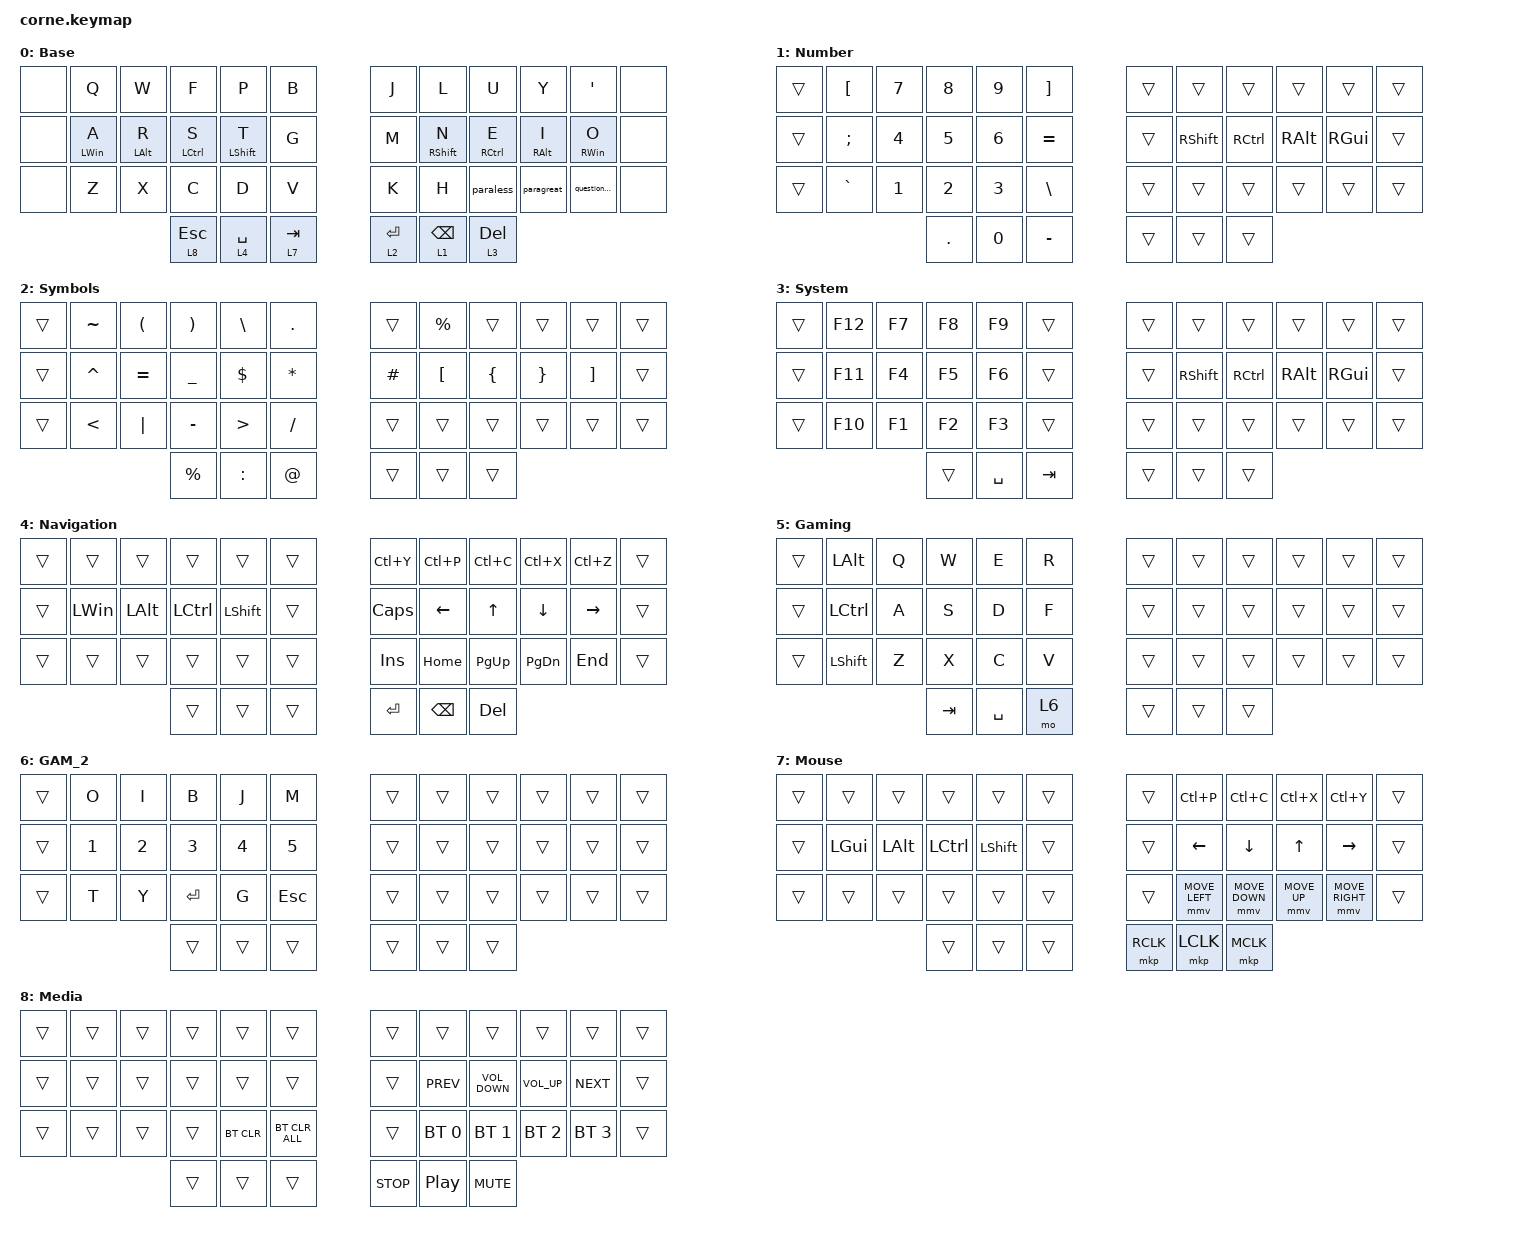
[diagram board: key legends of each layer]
#include <behaviors.dtsi>
#include <dt-bindings/zmk/bt.h>
#include <dt-bindings/zmk/keys.h>
#include <dt-bindings/zmk/pointing.h>

#define DEF 0
#define NAV 1
#define SYM 2
#define ADJ 3
#define EXTRA 4

/ {
    behaviors {
        hm: homerow_mods {
            compatible = "zmk,behavior-hold-tap";
            label = "HOMEROW_MODS";
            #binding-cells = <2>;
            tapping-term-ms = <200>;
            quick_tap_ms = <0>;
            flavor = "tap-preferred";
            bindings = <&kp>, <&kp>;

            quick-tap-ms = <180>;
            global-quick-tap;
        };

        para: para {
            compatible = "zmk,behavior-tap-dance";
            label = "PARA";
            #binding-cells = <0>;
            bindings = <&kp LEFT_PARENTHESIS>, <&kp RIGHT_PARENTHESIS>;
        };

        caps: caps {
            compatible = "zmk,behavior-caps-word";
            label = "CAPS";
            #binding-cells = <0>;
            continue-list = <MINUS BACKSPACE>;
        };

        paraless: paraless {
            compatible = "zmk,behavior-mod-morph";
            label = "PARALESS";
            bindings = <&kp COMMA>, <&kp LESS_THAN>;

            #binding-cells = <0>;
            mods = <(MOD_LSFT)>;
        };

        paragreat: paragreat {
            compatible = "zmk,behavior-mod-morph";
            label = "PARAGREAT";
            bindings = <&kp PERIOD>, <&kp GREATER_THAN>;

            #binding-cells = <0>;
            mods = <(MOD_LSFT)>;
        };

        quick_delete: quick_delete {
            compatible = "zmk,behavior-tap-dance";
            label = "QUICK_DELETE";
            #binding-cells = <0>;
            bindings = <&kp BACKSPACE>, <&kp LC(BACKSPACE)>;

            tapping-term-ms = <250>;
        };

        questionmark: questionmark {
            compatible = "zmk,behavior-mod-morph";
            label = "QUESTIONMARK";
            bindings = <&kp SLASH>, <&kp QUESTION>;

            #binding-cells = <0>;
            mods = <(MOD_LSFT)>;
        };
    };

    macros {
        browsertab: browsertab {
            compatible = "zmk,behavior-macro";
            #binding-cells = <0>;
            bindings =
                <&macro_press>,
                <&kp LCTRL>,
                <&macro_tap>,
                <&kp TAB>,
                <&macro_release>,
                <&kp LCTRL>;
        };
    };

    combos {
        compatible = "zmk,combos";

        Semicolon {
            bindings = <&kp SEMICOLON>;
            key-positions = <32 33>;
        };

        BaseToGam {
            bindings = <&to 5>;
            key-positions = <38 39>;
            layers = <0>;
        };

        GamToBase {
            bindings = <&to 0>;
            key-positions = <38 39>;
            layers = <5>;
        };

        layer_2 {
            bindings = <&mo 6>;
            key-positions = <37 13>;
            layers = <5>;
        };
    };

    //

    keymap {
        compatible = "zmk,keymap";

        DEF {
            display-name = "Base";

            // -----------------------------------------------------------------------------------------
            // |  Q  |  W  |  E  |  R  |  T  |   |  Y  |  U   |  I  |  O  |  P  |
            // |  A  |  S  |  D  |  F  |  G  |   |  H  |  J   |  K  |  L  |  ;  |
            // |  Z  |  X  |  C  |  V  |  B  |   |  N  |  M   |  ,  |  .  |  /  |
            // | GUI | CTRL | SHFT | LWR | SPC |   | ENT | RSE  | BKSP | ALT | ESC |

            bindings = <
&none  &kp Q       &kp W       &kp F         &kp P             &kp B        &kp J        &kp L            &kp U         &kp Y            &kp SQT          &none
&none  &hm LWIN A  &hm LALT R  &hm LCTRL S   &hm LEFT_SHIFT T  &kp G        &kp M        &hm RSHIFT N     &hm RCTRL E   &hm RIGHT_ALT I  &hm RIGHT_WIN O  &none
&none  &kp Z       &kp X       &kp C         &kp D             &kp V        &kp K        &kp H            &paraless     &paragreat       &questionmark    &none
                               &lt 8 ESCAPE  &lt 4 SPACE       &lt 7 TAB    &lt 2 ENTER  &lt 1 BACKSPACE  &lt 3 DELETE
            >;
        };

        NUM {
            display-name = "Number";

            // -----------------------------------------------------------------------------------------
            // |  TAB |  1  |  2  |  3  |  4  |  5  |   |  6  |  7  |  8  |  9  |  0  | BKSP |
            // | BTCLR| BT1 | BT2 | BT3 | BT4 | BT5 |   | LFT | DWN |  UP | RGT |     |      |
            // | SHFT |     |     |     |     |     |   |     |     |     |     |     |      |
            // | GUI | CTRL | SHFT | LWR | SPC |   | ENT | RSE  | BKSP | ALT | ESC |

            bindings = <
&trans  &kp LEFT_BRACKET  &kp NUMBER_7  &kp NUMBER_8  &kp N9        &kp RIGHT_BRACKET    &trans  &trans           &trans             &trans         &trans         &trans
&trans  &kp SEMICOLON     &kp NUMBER_4  &kp N5        &kp NUMBER_6  &kp EQUAL            &trans  &kp RIGHT_SHIFT  &kp RIGHT_CONTROL  &kp RIGHT_ALT  &kp RIGHT_GUI  &trans
&trans  &kp GRAVE         &kp NUMBER_1  &kp NUMBER_2  &kp NUMBER_3  &kp BACKSLASH        &trans  &trans           &trans             &trans         &trans         &trans
                                        &kp PERIOD    &kp N0        &kp MINUS            &trans  &trans           &trans
            >;
        };

        SYM {
            display-name = "Symbols";

            // -----------------------------------------------------------------------------------------
            // |  TAB |  !  |  @  |  #  |  $  |  %  |   |  ^  |  &  |  *  |  (  |  )  | BKSP |
            // | CTRL |     |     |     |     |     |   |  -  |  =  |  [  |  ]  |  \  |  `   |
            // | SHFT |     |     |     |     |     |   |  _  |  +  |  {  |  }  | "|" |  ~   |
            //                    | GUI |     | SPC |   | ENT |     | ALT |

            bindings = <
&trans  &kp TILDE      &kp LEFT_PARENTHESIS  &kp RIGHT_PARENTHESIS  &kp BACKSLASH     &kp PERIOD      &trans    &kp PERCENT       &trans          &trans           &trans             &trans
&trans  &kp CARET      &kp EQUAL             &kp UNDER              &kp DOLLAR        &kp ASTERISK    &kp HASH  &kp LEFT_BRACKET  &kp LEFT_BRACE  &kp RIGHT_BRACE  &kp RIGHT_BRACKET  &trans
&trans  &kp LESS_THAN  &kp PIPE              &kp MINUS              &kp GREATER_THAN  &kp SLASH       &trans    &trans            &trans          &trans           &trans             &trans
                                             &kp PERCENT            &kp COLON         &kp AT_SIGN     &trans    &trans            &trans
            >;
        };

        ADJ {
            display-name = "System";
            bindings = <
&trans  &kp F12  &kp F7  &kp F8  &kp F9     &trans     &trans  &trans           &trans             &trans         &trans         &trans
&trans  &kp F11  &kp F4  &kp F5  &kp F6     &trans     &trans  &kp RIGHT_SHIFT  &kp RIGHT_CONTROL  &kp RIGHT_ALT  &kp RIGHT_GUI  &trans
&trans  &kp F10  &kp F1  &kp F2  &kp F3     &trans     &trans  &trans           &trans             &trans         &trans         &trans
                         &trans  &kp SPACE  &kp TAB    &trans  &trans           &trans
            >;
        };

        NAV {
            display-name = "Navigation";
            bindings = <
&trans  &trans        &trans        &trans            &trans          &trans    &kp LC(Y)     &kp LC(P)      &kp LC(C)     &kp LC(X)      &kp LC(Z)        &trans
&trans  &kp LEFT_WIN  &kp LEFT_ALT  &kp LEFT_CONTROL  &kp LEFT_SHIFT  &trans    &kp CAPSLOCK  &kp LEFT       &kp UP_ARROW  &kp DOWN       &kp RIGHT_ARROW  &trans
&trans  &trans        &trans        &trans            &trans          &trans    &kp INSERT    &kp HOME       &kp PAGE_UP   &kp PAGE_DOWN  &kp END          &trans
                                    &trans            &trans          &trans    &kp ENTER     &kp BACKSPACE  &kp DELETE
            >;
        };

        GAM {
            bindings = <
&trans  &kp LEFT_ALT      &kp Q  &kp W    &kp E      &kp R    &trans  &trans  &trans  &trans  &trans  &trans
&trans  &kp LEFT_CONTROL  &kp A  &kp S    &kp D      &kp F    &trans  &trans  &trans  &trans  &trans  &trans
&trans  &kp LEFT_SHIFT    &kp Z  &kp X    &kp C      &kp V    &trans  &trans  &trans  &trans  &trans  &trans
                                 &kp TAB  &kp SPACE  &mo 6    &trans  &trans  &trans
            >;

            label = "Gaming";
        };

        GAM_2 {
            bindings = <
&trans  &kp O         &kp I         &kp B         &kp J         &kp M         &trans  &trans  &trans  &trans  &trans  &trans
&trans  &kp NUMBER_1  &kp NUMBER_2  &kp NUMBER_3  &kp NUMBER_4  &kp N5        &trans  &trans  &trans  &trans  &trans  &trans
&trans  &kp T         &kp Y         &kp ENTER     &kp G         &kp ESCAPE    &trans  &trans  &trans  &trans  &trans  &trans
                                    &trans        &trans        &trans        &trans  &trans  &trans
            >;
        };

        MOS {
            bindings = <
&trans  &trans        &trans        &trans     &trans          &trans    &trans     &kp LC(P)       &kp LC(C)       &kp LC(X)     &kp LC(Y)        &trans
&trans  &kp LEFT_GUI  &kp LEFT_ALT  &kp LCTRL  &kp LEFT_SHIFT  &trans    &trans     &kp LEFT        &kp DOWN        &kp UP_ARROW  &kp RIGHT        &trans
&trans  &trans        &trans        &trans     &trans          &trans    &trans     &mmv MOVE_LEFT  &mmv MOVE_DOWN  &mmv MOVE_UP  &mmv MOVE_RIGHT  &trans
                                    &trans     &trans          &trans    &mkp RCLK  &mkp LCLK       &mkp MCLK
            >;

            label = "Mouse";
        };

        MED {
            bindings = <
&trans  &trans  &trans  &trans  &trans      &trans            &trans      &trans            &trans             &trans           &trans        &trans
&trans  &trans  &trans  &trans  &trans      &trans            &trans      &kp K_PREV        &kp C_VOLUME_DOWN  &kp C_VOLUME_UP  &kp K_NEXT    &trans
&trans  &trans  &trans  &trans  &bt BT_CLR  &bt BT_CLR_ALL    &trans      &bt BT_SEL 0      &bt BT_SEL 1       &bt BT_SEL 2     &bt BT_SEL 3  &trans
                        &trans  &trans      &trans            &kp K_STOP  &kp C_PLAY_PAUSE  &kp K_MUTE
            >;

            label = "Media";
        };
    };

    conditional_layers { compatible = "zmk,conditional-layers"; };
};
